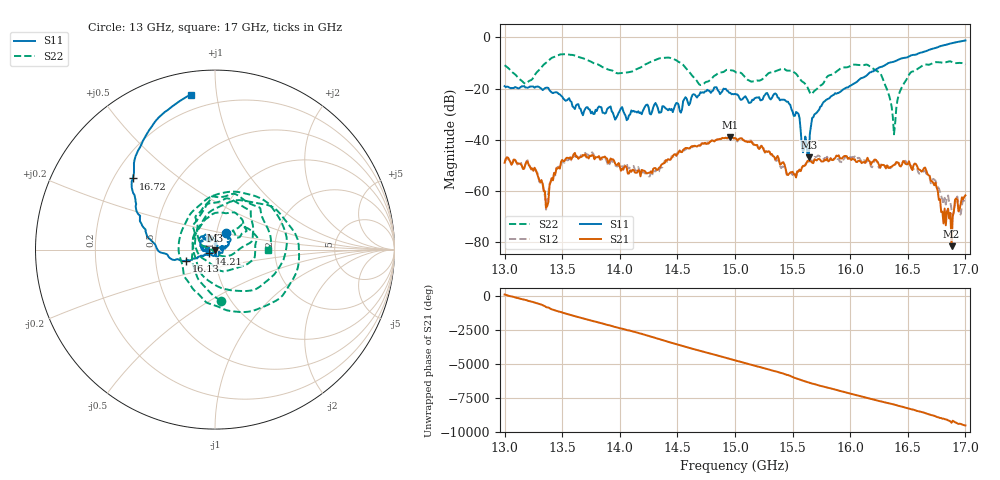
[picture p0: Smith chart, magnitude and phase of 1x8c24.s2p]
!Keysight Technologies,P9374A,MY57211807,A.19.30.04
!Date: Friday, May 08, 2026 15:09:44
!Correction: S11(C  2-Port  )
!S21(C  2-Port  )
!S12(C  2-Port  )
!S22(C  2-Port  )
!S2P File: Measurements: S11, S21, S12, S22:
# Hz S  dB  R 50
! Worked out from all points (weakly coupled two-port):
!   401 points, 13 GHz to 17 GHz, reference 50 ohm
!   highest |S21| = -38.97 dB at 14.96 GHz (marker M1); lowest = -81.6 dB at 16.88 GHz (marker M2)
!   lowest |S11| = -46.8 dB at 15.64 GHz (marker M3), VSWR 1.01, Z = 50.2 - j0.428 ohm
!   |S11| at or under -10 dB: start of sweep to 16.33 GHz
!   |S22| runs from -37.9 to -6.5 dB; largest |S21 - S12| = 0.0011
!   S11 on the Smith chart (normalised r, x): 13 GHz: 1.11, +0.21; 14.21 GHz: 0.93, -0.04; 16.13 GHz: 0.72, -0.09; 16.72 GHz: 0.28, +0.35; 17 GHz: 0.12, +0.85
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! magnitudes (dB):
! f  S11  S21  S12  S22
! 13 GHz  -19.0  -49.0  -48.4  -10.9
! 13.26 GHz  -19.6  -50.9  -51.2  -14.8
! 13.36 GHz  -19.6  -66.6  -67.3  -9.9
! 13.51 GHz  -23.9  -48.3  -48.8  -6.6
! 13.67 GHz  -29.5  -46.6  -45.6  -8.0
! 14.21 GHz  -27.8  -52.0  -52.7  -10.8
! 14.34 GHz  -29.4  -50.9  -52.3  -8.2
! 14.7 GHz  -21.4  -42.2  -42.1  -18.6
! 14.96 GHz  -21.7  -39.0  -39.0  -12.8
! 15 GHz  -22.1  -39.3  -39.4  -13.4
! 15.44 GHz  -24.8  -51.5  -51.8  -12.7
! 15.64 GHz  -46.8  -48.1  -48.6  -20.5
! 15.67 GHz  -31.4  -48.9  -48.4  -22.0
! 16.13 GHz  -15.2  -49.0  -48.9  -10.7
! 16.26 GHz  -11.6  -50.9  -50.9  -14.0
! 16.34 GHz  -9.9  -50.9  -51.0  -23.0
! 16.38 GHz  -9.5  -49.8  -49.2  -37.9
! 16.51 GHz  -7.4  -48.4  -49.2  -14.6
! 16.72 GHz  -4.4  -56.8  -55.3  -10.0
! 16.81 GHz  -3.1  -72.7  -65.2  -9.9
! 16.88 GHz  -2.3  -81.6  -67.4  -9.5
! 17 GHz  -1.2  -61.7  -64.8  -10.6
